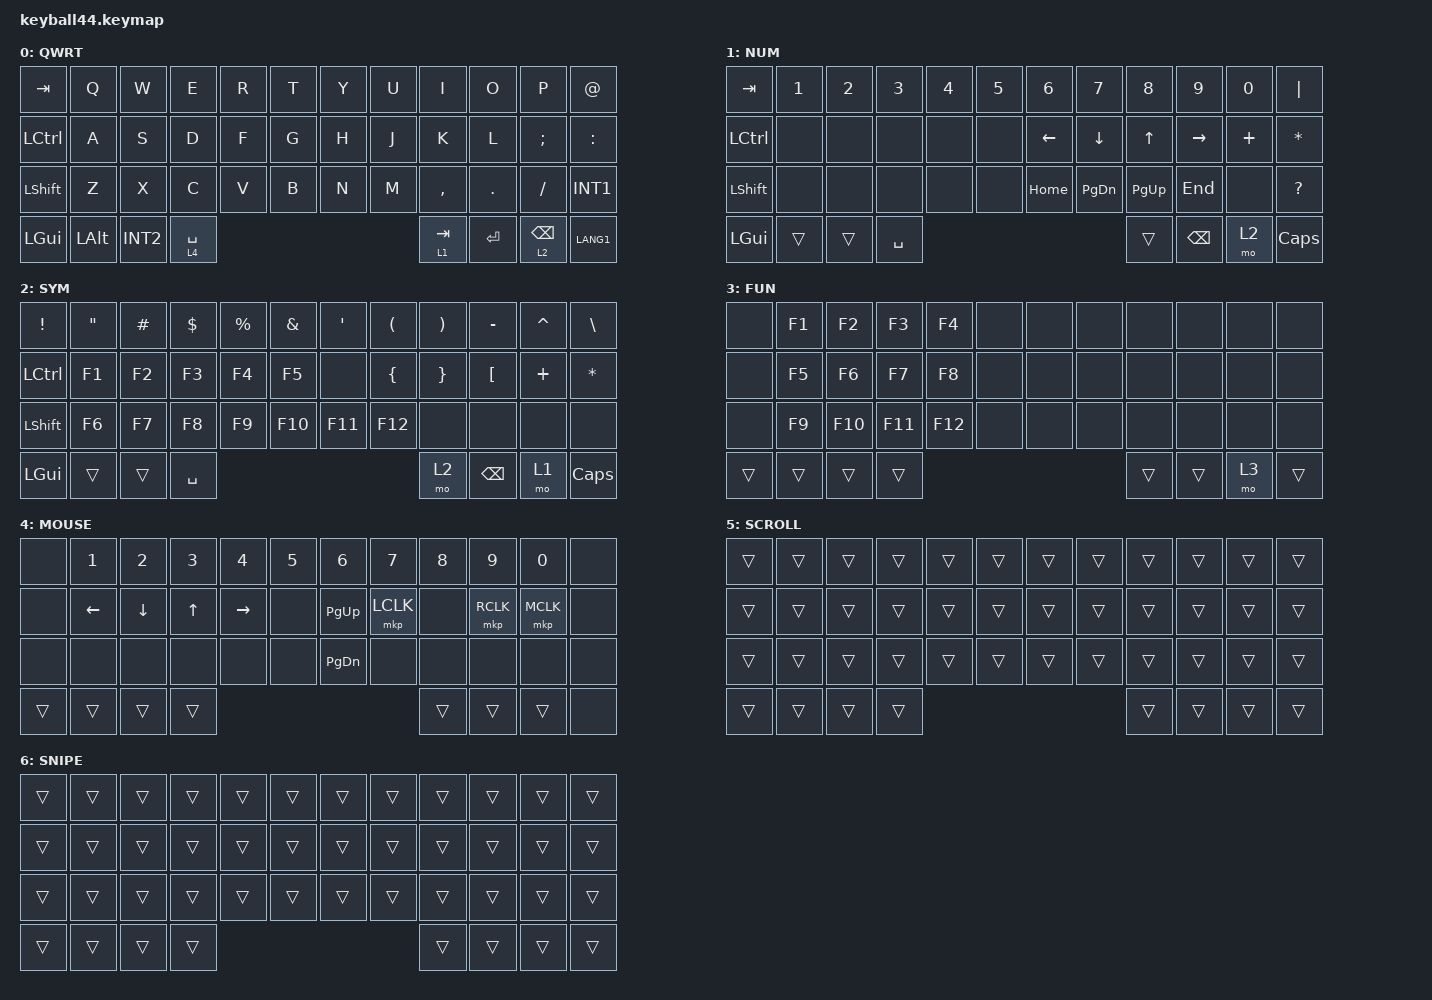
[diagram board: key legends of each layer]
#define DEFAULT 0
#define NUM     1
#define SYM     2
#define FUN     3
#define MOUSE   4
#define SCROLL  5
#define SNIPE   6

#include <behaviors/mouse_keys.dtsi>
#include <behaviors.dtsi>
#include <dt-bindings/zmk/bt.h>
#include <dt-bindings/zmk/keys.h>
#include <dt-bindings/zmk/mouse.h>

&lt {
    tapping-term-ms = <240>;
    flavor = "balanced";
    quick-tap-ms = <150>;
};

&mt {
    tapping-term-ms = <200>;
    flavor = "tap-preferred";
    quick-tap-ms = <150>;
};

&caps_word { continue-list = <UNDERSCORE MINUS>; };

/ {
    // custom shift using mod-morph 

    behaviors {
        cmqus: comma_question {
            compatible = "zmk,behavior-mod-morph";
            label = "COMMA_QUESTION";
            #binding-cells = <0>;
            bindings = <&kp COMMA>, <&kp QUESTION>;

            mods = <(MOD_LSFT|MOD_RSFT)>;
        };

        dtsmi: dot_semi {
            compatible = "zmk,behavior-mod-morph";
            label = "DOT_SEMI";
            #binding-cells = <0>;
            bindings = <&kp DOT>, <&kp SEMI>;

            mods = <(MOD_LSFT|MOD_RSFT)>;
        };
    };

    keymap {
        compatible = "zmk,keymap";

        default_layer {
            label = "QWRT";
            bindings = <
&kp TAB         &kp Q     &kp W         &kp E        &kp R      &kp T                 &kp Y            &kp U  &kp I      &kp O    &kp P      &kp AT
&kp LCTRL       &kp A     &kp S         &kp D        &kp F      &kp G                 &kp H            &kp J  &kp K      &kp L    &kp SEMI   &kp COLON
&kp LEFT_SHIFT  &kp Z     &kp X         &kp C        &kp V      &kp B                 &kp N            &kp M  &kp COMMA  &kp DOT  &kp SLASH  &kp INT1
&kp LGUI        &kp LALT  &kp INT2      &lt 4 SPACE  &lt 1 TAB             &kp ENTER  &lt 2 BACKSPACE                                        &kp LANG1
            >;
        };

        number_layer {
            label = "NUM";
            bindings = <
&kp TAB     &kp N1    &kp N2    &kp N3    &kp N4    &kp N5                &kp N6     &kp N7     &kp N8      &kp N9      &kp N0        &kp PIPE
&kp LCTRL   &none     &none     &none     &none     &none                 &kp LEFT   &kp DOWN   &kp UP      &kp RIGHT   &kp PLUS      &kp STAR
&kp LSHIFT  &none     &none     &none     &none     &none                 &kp HOME   &kp PG_DN  &kp PG_UP   &kp END     &none         &kp QMARK
&kp LGUI    &trans    &trans    &kp SPC   &trans                &kp BSPC  &mo 2                                                      &kp CAPS
            >;
        };

        symbol_layer {
            label = "SYM";
            bindings = <
&kp EXCL    &kp DQT   &kp HASH  &kp DLLR  &kp PRCNT  &kp AMPS               &kp SQT    &kp LPAR   &kp RPAR   &kp MINUS  &kp CARET  &kp BSLH
&kp LCTRL   &kp F1    &kp F2    &kp F3    &kp F4     &kp F5                 &none      &kp LBRC   &kp RBRC   &kp LBKT   &kp PLUS   &kp STAR
&kp LSHIFT  &kp F6    &kp F7    &kp F8    &kp F9     &kp F10                &kp F11    &kp F12    &none      &none      &none      &none
&kp LGUI    &trans    &trans    &kp SPC   &mo 2                   &kp BSPC  &mo 1                                                  &kp CAPS
            >;
        };

        function_layer {
            label = "FUN";
            bindings = <
&none   &kp F1  &kp F2   &kp F3   &kp F4   &none              &none  &none  &none  &none  &none  &none
&none   &kp F5  &kp F6   &kp F7   &kp F8   &none              &none  &none  &none  &none  &none  &none
&none   &kp F9  &kp F10  &kp F11  &kp F12  &none              &none  &none  &none  &none  &none  &none
&trans  &trans  &trans   &trans   &trans              &trans  &mo 3                              &trans
            >;
        };

        mouse_layer {
            label = "MOUSE";
            bindings = <
&none   &kp N1          &kp N2          &kp N3        &kp N4     &kp N5              &kp N6         &kp N7     &kp N8  &kp N9     &kp N0     &none
&none   &kp LEFT_ARROW  &kp DOWN_ARROW  &kp UP_ARROW  &kp RIGHT  &none               &kp PAGE_UP    &mkp LCLK  &none   &mkp RCLK  &mkp MCLK  &none
&none   &none           &none           &none         &none      &none               &kp PAGE_DOWN  &none      &none   &none      &none      &none
&trans  &trans          &trans          &trans        &trans                 &trans  &trans                                                  &none
            >;
        };

        scroll_layer {
            label = "SCROLL";
            bindings = <
&trans  &trans  &trans  &trans  &trans  &trans              &trans  &trans  &trans  &trans  &trans  &trans
&trans  &trans  &trans  &trans  &trans  &trans              &trans  &trans  &trans  &trans  &trans  &trans
&trans  &trans  &trans  &trans  &trans  &trans              &trans  &trans  &trans  &trans  &trans  &trans
&trans  &trans  &trans  &trans  &trans              &trans  &trans                                  &trans
            >;
        };

        snipe_layer {
            label = "SNIPE";
            bindings = <
&trans  &trans  &trans  &trans  &trans  &trans              &trans  &trans  &trans  &trans  &trans  &trans
&trans  &trans  &trans  &trans  &trans  &trans              &trans  &trans  &trans  &trans  &trans  &trans
&trans  &trans  &trans  &trans  &trans  &trans              &trans  &trans  &trans  &trans  &trans  &trans
&trans  &trans  &trans  &trans  &trans              &trans  &trans                                  &trans
            >;
        };
    };
};
